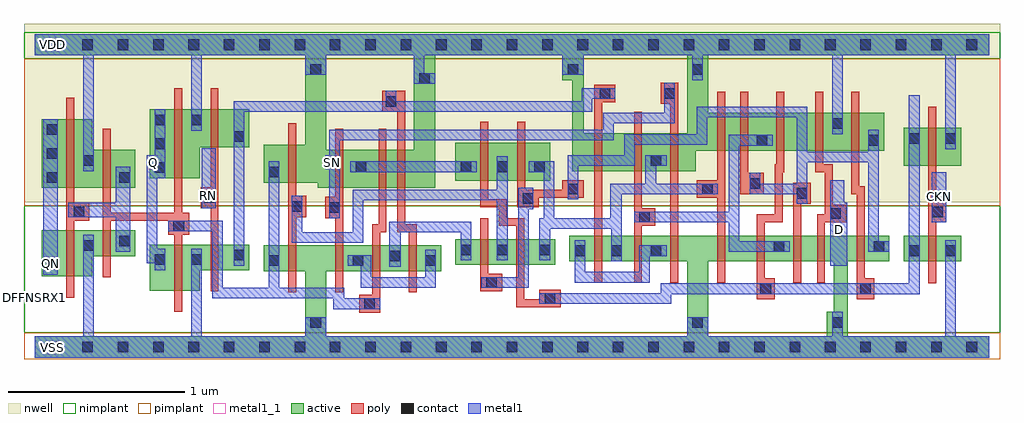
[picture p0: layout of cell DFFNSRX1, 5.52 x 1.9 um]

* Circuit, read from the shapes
.subckt DFFNSRX1 CKN D Q QN RN SN VDD VSS
M1 VSS n1 QN VSS nfet w=0.26u l=0.045u
M2 n1 n2 VSS VSS nfet w=0.145u l=0.045u
M3 VSS n2 Q VSS nfet w=0.26u l=0.045u
M4 n3 RN VSS VSS nfet w=0.145u l=0.045u
M5 VSS n4 n2 VSS nfet w=0.145u l=0.045u
M6 n5 SN VSS VSS nfet w=0.145u l=0.045u
M7 n6 n2 n5 VSS nfet w=0.145u l=0.045u
M8 n5 n3 n6 VSS nfet w=0.145u l=0.045u
M9 n4 n7 n6 VSS nfet w=0.145u l=0.045u
M10 n8 n9 n4 VSS nfet w=0.145u l=0.045u
M11 n8 n3 n10 VSS nfet w=0.145u l=0.045u
M12 n10 n11 n8 VSS nfet w=0.145u l=0.045u
M13 VSS SN n10 VSS nfet w=0.145u l=0.045u
M14 n12 n8 VSS VSS nfet w=0.145u l=0.045u
M15 n11 n9 n12 VSS nfet w=0.145u l=0.045u
M16 n13 n7 n11 VSS nfet w=0.145u l=0.045u
M17 VSS D n13 VSS nfet w=0.145u l=0.045u
M18 n7 n9 VSS VSS nfet w=0.145u l=0.045u
M19 VSS CKN n9 VSS nfet w=0.145u l=0.045u
M20 VDD n1 QN VDD pfet w=0.39u l=0.045u
M21 n1 n2 VDD VDD pfet w=0.215u l=0.045u
M22 VDD n2 Q VDD pfet w=0.39u l=0.045u
M23 n3 RN VDD VDD pfet w=0.215u l=0.045u
M24 VDD n4 n2 VDD pfet w=0.215u l=0.045u
M25 n14 SN VDD VDD pfet w=0.215u l=0.045u
M26 n15 n2 n14 VDD pfet w=0.215u l=0.045u
M27 VDD n3 n15 VDD pfet w=0.215u l=0.045u
M28 n4 n9 n14 VDD pfet w=0.215u l=0.045u
M29 n8 n7 n4 VDD pfet w=0.215u l=0.045u
M30 n16 n3 VDD VDD pfet w=0.215u l=0.045u
M31 n8 n11 n16 VDD pfet w=0.215u l=0.045u
M32 VDD SN n8 VDD pfet w=0.215u l=0.045u
M33 n17 n8 VDD VDD pfet w=0.215u l=0.045u
M34 n11 n7 n17 VDD pfet w=0.215u l=0.045u
M35 n18 n9 n11 VDD pfet w=0.215u l=0.045u
M36 VDD D n18 VDD pfet w=0.215u l=0.045u
M37 n7 n9 VDD VDD pfet w=0.215u l=0.045u
M38 VDD CKN n9 VDD pfet w=0.215u l=0.045u
.ends

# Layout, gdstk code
import gdstk
lib = gdstk.Library(unit=1e-6, precision=5e-10)
def R(c, l, rs):  # rectangles x0, y0, x1, y1
    for r in rs: c.add(gdstk.rectangle(r[:2], r[2:], *l))
def A(c, l, x, y, w, h, nx, ny, dx, dy):  # array of equal rectangles
    R(c, l, [(x+i*dx, y+j*dy, x+i*dx+w, y+j*dy+h) for i in range(nx) for j in range(ny)])
def P(c, l, *ps):  # polygons
    for p in ps: c.add(gdstk.Polygon(p, *l))
active = (1, 0)
nwell = (2, 0)
poly = (3, 0)
nimplant = (4, 0)
pimplant = (5, 0)
contact = (6, 0)
metal1 = (7, 0)
metal1_1 = (7, 1)

dffnsrx1 = lib.new_cell('DFFNSRX1')
R(dffnsrx1, active, [(2.38,0.465,2.945,0.61), (4.915,0.485,5.24,0.63), (2.38,0.94,2.915,1.155), (4.915,1.025,5.24,1.24)])
P(dffnsrx1, active, [(0,1.77),(5.4,1.77),(5.4,1.65),(3.81,1.65),(3.81,1.325),(4.805,1.325),(4.805,1.11),(3.74,1.11),(3.74,0.995),(3.04,0.995),(3.04,1.51),(2.985,1.51),(2.985,1.65),(3.105,1.65),(3.105,1.21),(3.69,1.21),(3.69,1.65),(2.265,1.65),(2.265,0.9),(1.6,0.9),(1.6,0.93),(1.295,0.93),(1.295,1.145),(1.53,1.145),(1.53,1.65),(1.65,1.65),(1.65,1.115),(2.145,1.115),(2.145,1.65),(0,1.65)],
  [(0.65,1.345),(1.215,1.345),(1.215,1.13),(0.935,1.13),(0.935,0.955),(0.65,0.955)],
  [(0.04,1.29),(0.325,1.29),(0.325,1.115),(0.57,1.115),(0.57,0.9),(0.04,0.9)],
  [(0.04,0.66),(0.57,0.66),(0.57,0.515),(0.325,0.515),(0.325,0.4),(0.04,0.4)],
  [(0.65,0.58),(1.215,0.58),(1.215,0.435),(0.935,0.435),(0.935,0.32),(0.65,0.32)],
  [(1.295,0.575),(2.3,0.575),(2.3,0.43),(1.65,0.43),(1.65,0.06),(3.69,0.06),(3.69,0.485),(3.81,0.485),(3.81,0.06),(4.48,0.06),(4.48,0.2),(4.52,0.2),(4.52,0.485),(3.025,0.485),(3.025,0.63),(4.835,0.63),(4.835,0.485),(4.6,0.485),(4.6,0.06),(5.4,0.06),(5.4,-0.06),(0,-0.06),(0,0.06),(1.53,0.06),(1.53,0.43),(1.295,0.43)])
R(dffnsrx1, nwell, [(-0.06,0.82,5.46,1.83)])
R(dffnsrx1, poly, [(0.755,0.635,0.85,0.76), (1.945,0.65,1.99,1.235)])
P(dffnsrx1, poly, [(0.18,1.41),(0.225,1.41),(0.225,0.815),(0.31,0.815),(0.31,0.715),(0.225,0.715),(0.225,0.28),(0.18,0.28)],
  [(0.385,1.235),(0.43,1.235),(0.43,0.76),(0.79,0.76),(0.79,1.465),(0.835,1.465),(0.835,0.76),(0.875,0.76),(0.875,0.635),(0.835,0.635),(0.835,0.2),(0.79,0.2),(0.79,0.715),(0.43,0.715),(0.43,0.395),(0.385,0.395)],
  [(0.995,1.465),(1.04,1.465),(1.04,0.315),(0.995,0.315),(0.995,0.785),(0.94,0.785),(0.94,0.905),(0.995,0.905)],
  [(1.535,0.855),(1.48,0.855),(1.48,1.265),(1.435,1.265),(1.435,0.31),(1.48,0.31),(1.48,0.735),(1.535,0.735)],
  [(1.965,1.45),(2.095,1.45),(2.095,0.695),(2.16,0.695),(2.16,0.31),(2.115,0.31),(2.115,0.65),(2.05,0.65),(2.05,1.33),(1.965,1.33)],
  [(1.645,0.85),(1.7,0.85),(1.7,1.235),(1.745,1.235),(1.745,0.31),(1.7,0.31),(1.7,0.73),(1.645,0.73)],
  [(1.955,0.695),(1.91,0.695),(1.91,0.295),(1.835,0.295),(1.835,0.195),(1.955,0.195)],
  [(2.52,1.275),(2.565,1.275),(2.565,0.835),(2.67,0.835),(2.67,0.73),(2.77,0.73),(2.77,0.27),(2.855,0.27),(2.855,0.325),(2.975,0.325),(2.975,0.225),(2.725,0.225),(2.725,0.685),(2.625,0.685),(2.625,0.79),(2.52,0.79)],
  [(2.73,1.275),(2.775,1.275),(2.775,0.89),(2.985,0.89),(2.985,0.945),(3.105,0.945),(3.105,0.845),(2.85,0.845),(2.85,0.79),(2.73,0.79)],
  [(3.165,1.485),(3.285,1.485),(3.285,1.385),(3.21,1.385),(3.21,0.365),(3.165,0.365)],
  [(3.54,1.495),(3.64,1.495),(3.64,0.365),(3.595,0.365),(3.595,1.375),(3.54,1.375)],
  [(3.39,1.33),(3.435,1.33),(3.435,0.785),(3.51,0.785),(3.51,0.685),(3.435,0.685),(3.435,0.365),(3.39,0.365)],
  [(3.86,1.445),(3.905,1.445),(3.905,0.365),(3.86,0.365),(3.86,0.845),(3.745,0.845),(3.745,0.945),(3.86,0.945)],
  [(3.99,1.445),(4.035,1.445),(4.035,0.985),(4.125,0.985),(4.125,0.865),(3.99,0.865)],
  [(4.195,1.445),(4.24,1.445),(4.24,0.99),(4.23,0.99),(4.23,0.705),(4.13,0.705),(4.13,0.39),(4.185,0.39),(4.185,0.27),(4.085,0.27),(4.085,0.75),(4.185,0.75),(4.185,1.035),(4.195,1.035)],
  [(4.415,1.445),(4.46,1.445),(4.46,1.035),(4.515,1.035),(4.515,0.805),(4.59,0.805),(4.59,0.705),(4.47,0.705),(4.47,0.365),(4.425,0.365),(4.425,0.75),(4.47,0.75),(4.47,0.99),(4.415,0.99)],
  [(4.62,1.445),(4.665,1.445),(4.665,0.91),(4.695,0.91),(4.695,0.39),(4.75,0.39),(4.75,0.27),(4.65,0.27),(4.65,0.865),(4.62,0.865)],
  [(4.29,0.93),(4.39,0.93),(4.39,0.81),(4.335,0.81),(4.335,0.365),(4.29,0.365)],
  [(5.1,1.36),(5.055,1.36),(5.055,0.36),(5.1,0.36),(5.1,0.705),(5.155,0.705),(5.155,0.825),(5.1,0.825)],
  [(2.52,0.73),(2.565,0.73),(2.565,0.415),(2.645,0.415),(2.645,0.315),(2.52,0.315)])
R(dffnsrx1, nimplant, [(-0.06,0.08,5.46,0.8), (-0.06,1.63,5.46,1.78)])
R(dffnsrx1, pimplant, [(-0.06,-0.07,5.46,0.08), (-0.06,0.8,5.46,1.63)])
A(dffnsrx1, contact, 0.07, -0.03, 0.06, 0.06, 27, 2, 0.2, 1.71)
A(dffnsrx1, contact, 0.07, 0.93, 0.06, 0.06, 1, 3, 0, 0.135)
A(dffnsrx1, contact, 0.68, 0.985, 0.06, 0.06, 1, 3, 0, 0.135)
R(dffnsrx1, contact, [(1.56,0.11,1.62,0.17), (3.72,0.11,3.78,0.17), (4.51,0.11,4.57,0.17), (1.865,0.215,1.925,0.275), (2.885,0.245,2.945,0.305), (4.105,0.3,4.165,0.36), (4.67,0.3,4.73,0.36), (2.555,0.335,2.615,0.395), (0.07,0.44,0.13,0.5), (1.325,0.46,1.385,0.52), (1.8,0.46,1.86,0.52), (2.21,0.46,2.27,0.52), (0.68,0.465,0.74,0.525), (0.885,0.465,0.945,0.525), (2.005,0.485,2.065,0.545), (1.125,0.49,1.185,0.55), (3.055,0.515,3.115,0.575), (3.26,0.515,3.32,0.575), (3.485,0.515,3.545,0.575), (4.945,0.515,5.005,0.575), (5.15,0.515,5.21,0.575), (2.41,0.52,2.47,0.58), (2.615,0.52,2.675,0.58), (2.855,0.52,2.915,0.58), (4.18,0.54,4.24,0.6), (4.745,0.54,4.805,0.6), (0.275,0.545,0.335,0.605), (0.48,0.57,0.54,0.63), (0.785,0.655,0.845,0.715), (3.42,0.705,3.48,0.765), (4.5,0.725,4.56,0.785), (0.22,0.735,0.28,0.795), (5.075,0.735,5.135,0.795), (1.665,0.76,1.725,0.82), (1.455,0.765,1.515,0.825), (2.76,0.81,2.82,0.87), (0.96,0.815,1.02,0.875), (4.31,0.84,4.37,0.9), (3.015,0.865,3.075,0.925), (3.775,0.865,3.835,0.925), (4.045,0.895,4.105,0.955), (0.48,0.93,0.54,0.99), (1.325,0.96,1.385,1.02), (1.815,0.99,1.875,1.05), (2.41,0.99,2.47,1.05), (2.615,0.99,2.675,1.05), (2.825,0.99,2.885,1.05), (0.275,1.025,0.335,1.085), (3.485,1.025,3.545,1.085), (4.085,1.14,4.145,1.2), (4.715,1.14,4.775,1.2), (4.945,1.15,5.005,1.21), (5.15,1.15,5.21,1.21), (1.125,1.16,1.185,1.22), (4.51,1.235,4.57,1.295), (0.885,1.255,0.945,1.315), (1.985,1.36,2.045,1.42), (3.195,1.405,3.255,1.465), (3.56,1.405,3.62,1.465), (2.175,1.49,2.235,1.55), (1.56,1.54,1.62,1.6), (3.015,1.54,3.075,1.6), (3.72,1.54,3.78,1.6)])
R(dffnsrx1, metal1, [(1.69,0.215,1.955,0.275), (0.05,0.41,0.13,1.29), (2.855,0.49,2.91,0.73), (5.075,0.705,5.155,0.99), (2.735,0.78,2.82,0.9), (0.945,0.785,1.025,1.125), (1.785,0.99,2.5,1.05), (1.645,1.005,1.725,1.085), (3.56,1.265,3.62,1.495), (3.095,1.33,3.155,1.455), (3.095,1.405,3.285,1.465)])
P(dffnsrx1, metal1, [(1.75,0.335),(1.385,0.335),(1.385,1.05),(1.325,1.05),(1.325,0.335),(1.065,0.335),(1.065,0.715),(0.755,0.715),(0.755,0.655),(1.005,0.655),(1.005,0.275),(1.75,0.275)],
  [(0,1.77),(5.4,1.77),(5.4,1.65),(5.21,1.65),(5.21,1.12),(5.15,1.12),(5.15,1.65),(4.57,1.65),(4.57,1.205),(4.51,1.205),(4.51,1.65),(3.78,1.65),(3.78,1.51),(3.72,1.51),(3.72,1.65),(3.105,1.65),(3.105,1.54),(2.985,1.54),(2.985,1.65),(2.205,1.65),(2.205,1.55),(2.265,1.55),(2.265,1.49),(2.145,1.49),(2.145,1.65),(1.65,1.65),(1.65,1.54),(1.53,1.54),(1.53,1.65),(0.945,1.65),(0.945,1.225),(0.885,1.225),(0.885,1.65),(0.335,1.65),(0.335,0.995),(0.275,0.995),(0.275,1.65),(0,1.65)],
  [(0.68,1.345),(0.74,1.345),(0.74,0.955),(0.695,0.955),(0.695,0.555),(0.74,0.555),(0.74,0.435),(0.68,0.435),(0.68,0.475),(0.635,0.475),(0.635,1.085),(0.68,1.085)],
  [(0.46,1.02),(0.54,1.02),(0.54,0.54),(0.46,0.54),(0.46,0.735),(0.19,0.735),(0.19,0.815),(0.46,0.815)],
  [(1.985,1.45),(2.045,1.45),(2.045,1.39),(3.155,1.39),(3.155,1.33),(1.185,1.33),(1.185,0.46),(1.125,0.46),(1.125,1.39),(1.985,1.39)],
  [(3.215,1.325),(3.62,1.325),(3.62,1.265),(3.275,1.265),(3.275,1.17),(1.725,1.17),(1.725,0.73),(1.665,0.73),(1.665,1.23),(3.215,1.23)],
  [(3.745,1.36),(4.37,1.36),(4.37,1.105),(4.715,1.105),(4.715,1.23),(4.775,1.23),(4.775,0.6),(4.835,0.6),(4.835,0.54),(4.715,0.54),(4.715,1.045),(4.37,1.045),(4.37,0.81),(4.31,0.81),(4.31,0.865),(4.045,0.865),(4.045,0.985),(4.105,0.985),(4.105,0.925),(4.31,0.925),(4.31,1.3),(3.805,1.3),(3.805,1.145),(3.395,1.145),(3.395,1.025),(3.075,1.025),(3.075,0.835),(3.015,0.835),(3.015,1.085),(3.335,1.085),(3.335,1.205),(3.745,1.205)],
  [(0.275,0.635),(0.335,0.635),(0.335,0.06),(0.885,0.06),(0.885,0.555),(0.945,0.555),(0.945,0.06),(1.53,0.06),(1.53,0.17),(1.65,0.17),(1.65,0.06),(3.69,0.06),(3.69,0.17),(3.81,0.17),(3.81,0.06),(4.51,0.06),(4.51,0.2),(4.57,0.2),(4.57,0.06),(5.15,0.06),(5.15,0.605),(5.21,0.605),(5.21,0.06),(5.4,0.06),(5.4,-0.06),(0,-0.06),(0,0.06),(0.275,0.06)],
  [(2.615,1.08),(2.675,1.08),(2.675,0.49),(2.615,0.49),(2.615,0.83),(1.86,0.83),(1.86,0.59),(1.455,0.59),(1.455,0.855),(1.515,0.855),(1.515,0.65),(1.8,0.65),(1.8,0.89),(2.615,0.89)],
  [(4.175,1.2),(4.175,1.14),(3.985,1.14),(3.985,0.6),(4.27,0.6),(4.27,0.54),(3.925,0.54),(3.925,0.705),(3.39,0.705),(3.39,0.765),(3.925,0.765),(3.925,1.2)],
  [(2.795,1.05),(2.94,1.05),(2.94,0.73),(3.255,0.73),(3.255,0.925),(3.455,0.925),(3.455,1.085),(3.575,1.085),(3.575,1.025),(3.515,1.025),(3.515,0.925),(3.865,0.925),(3.865,0.865),(3.32,0.865),(3.32,0.485),(3.26,0.485),(3.26,0.67),(2.915,0.67),(2.915,0.49),(2.88,0.49),(2.88,0.99),(2.795,0.99)],
  [(2.005,0.71),(2.47,0.71),(2.47,0.49),(2.41,0.49),(2.41,0.65),(2.07,0.65),(2.07,0.455),(2.005,0.455)],
  [(1.77,0.52),(1.905,0.52),(1.905,0.395),(2.21,0.395),(2.21,0.55),(2.27,0.55),(2.27,0.335),(1.845,0.335),(1.845,0.46),(1.77,0.46)],
  [(2.795,0.9),(2.735,0.9),(2.735,0.395),(2.525,0.395),(2.525,0.335),(2.795,0.335)],
  [(4.945,1.425),(5.005,1.425),(5.005,0.3),(3.6,0.3),(3.6,0.245),(2.855,0.245),(2.855,0.305),(3.54,0.305),(3.54,0.36),(4.945,0.36)],
  [(4.5,0.945),(4.58,0.945),(4.58,0.815),(4.595,0.815),(4.595,0.46),(4.5,0.46)],
  [(3.055,0.605),(3.115,0.605),(3.115,0.425),(3.42,0.425),(3.42,0.575),(3.575,0.575),(3.575,0.515),(3.48,0.515),(3.48,0.365),(3.055,0.365)])
R(dffnsrx1, metal1_1, [(0.06,-0.04,0.14,0.04), (0.05,0.435,0.13,0.515), (4.515,0.625,4.595,0.705), (5.075,0.81,5.155,0.89), (0.945,0.815,1.025,0.895), (0.635,1.005,0.715,1.085), (1.645,1.005,1.725,1.085), (0.06,1.67,0.14,1.75)])
dffnsrx1.add(gdstk.Label('RN', (0.985,0.855), layer=7, texttype=1))
dffnsrx1.add(gdstk.Label('CKN', (5.115,0.85), layer=7, texttype=1))
dffnsrx1.add(gdstk.Label('VSS', (0.1,0), layer=7, texttype=1))
dffnsrx1.add(gdstk.Label('Q', (0.675,1.045), layer=7, texttype=1))
dffnsrx1.add(gdstk.Label('QN', (0.09,0.475), layer=7, texttype=1))
dffnsrx1.add(gdstk.Label('D', (4.555,0.665), layer=7, texttype=1))
dffnsrx1.add(gdstk.Label('SN', (1.685,1.045), layer=7, texttype=1))
dffnsrx1.add(gdstk.Label('VDD', (0.1,1.71), layer=7, texttype=1))
dffnsrx1.add(gdstk.Label('DFFNSRX1', (0,0.28), layer=63, texttype=0))

lib.write_gds('DFFNSRX1.gds')
